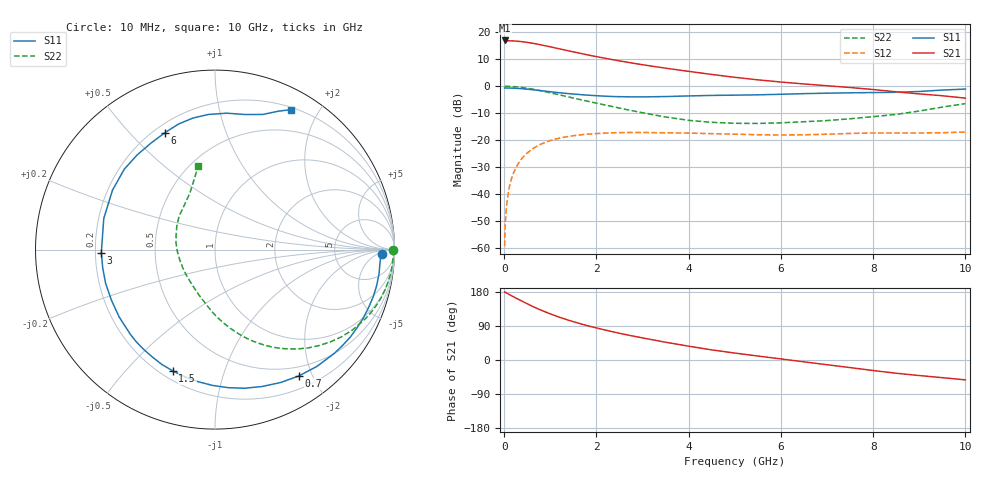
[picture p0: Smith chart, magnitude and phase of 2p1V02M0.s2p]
! (c) 2009  Infineon Technologies AG, Munich
! Infineon Technologies  Discrete & RF Semiconductors
! BFP420
! VCE =  1.0 V,  IC =  2.0 mA
! Common Emitter S-Parameters:  Nov 2009
# GHz  S  MA  R  50
!  f  S11  S21  S12  S22
! GHz  MAG  ANG  MAG  ANG  MAG  ANG  MAG  ANG
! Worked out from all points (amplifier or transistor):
!   46 points, 10 MHz to 10 GHz, reference 50 ohm
!   highest |S21| = 16.9 dB at 10 MHz (marker M1)
!   |S21| within 3 dB of that: start of sweep to 1.172 GHz
!   unconditionally stable (mu >= 1): 3.922 GHz to end of sweep
!   at 300 MHz: K = 0.04, MSG = 22.7 dB, |S12| = -28.8 dB
!   at 1.7 GHz: K = 0.38, MSG = 15.0 dB, |S12| = -17.9 dB
!   at 10 GHz: K = 1.21, MAG = 3.5 dB, |S12| = -17.0 dB
!   lowest NFmin = 0.53 dB at 900 MHz
!   S11 on the Smith chart (normalised r, x): 10 MHz: 24, -9; 700 MHz: 0.37, -1.81; 1.5 GHz: 0.25, -0.68; 3 GHz: 0.22, -0.01; 6 GHz: 0.24, +0.63; 10 GHz: 0.23, +1.65
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0.01  0.9288 -1.5  7.013 179.4  0.0011 94.5  0.9924 -0.1
0.02  0.9259 -1.8  6.837 179.1  0.0025 83.4  0.9936 -1.0
0.05  0.9224 -4.0  6.879 176.8  0.006 86.8  0.9933 -2.6
0.15  0.9229 -12.4  6.905 170.3  0.0184 82.8  0.987 -8.0
0.3  0.9098 -24.8  6.775 160.6  0.0364 75.5  0.965 -15.8
0.45  0.8892 -36.9  6.551 151.3  0.053 68.3  0.9308 -23.2
0.6  0.864 -48.8  6.26 142.4  0.068 61.5  0.8873 -30.3
0.7  0.845 -56.4  6.048 136.8  0.0769 57.2  0.8551 -34.7
1  0.79 -77.9  5.351 121.7  0.0987 45.8  0.7549 -46.5
1.2  0.7567 -91.1  4.906 112.8  0.1095 39.3  0.6905 -53.3
1.5  0.7153 -109.2  4.316 101.2  0.1215 30.9  0.6036 -62.2
1.7  0.6926 -120.3  3.975 94.1  0.1271 26.0  0.5529 -67.4
2.2  0.6527 -144.9  3.271 78.8  0.1359 15.8  0.4469 -79.0
2.6  0.6378 -162.9  2.841 67.9  0.1388 8.9  0.3778 -88.0
3  0.6337 -178.4  2.495 58.3  0.1392 3.5  0.3229 -96.6
3.5  0.6434 164.4  2.153 46.9  0.1376 -2.3  0.2692 -109.2
4.5  0.6755 138.4  1.65 26.7  0.1326 -10.4  0.2146 -137.8
5.5  0.6923 121.0  1.311 10.5  0.1266 -14.6  0.2046 -164.2
6  0.7088 113.2  1.194 2.9  0.1252 -15.4  0.2102 -177.5
7  0.743 99.6  1.019 -12.5  0.1294 -17.2  0.2313 159.5
8.5  0.7715 77.3  0.787 -34.9  0.1363 -24.7  0.301 124.5
10  0.8857 61.6  0.601 -52.4  0.1416 -28.7  0.4761 101.3
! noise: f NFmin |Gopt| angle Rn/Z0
0.9  0.53  0.47  33  0.22
1.8  1.03  0.29  77  0.17
2.4  1.13  0.31  102  0.16
3  1.32  0.31  136  0.12
4  1.57  0.37  -168  0.1
5  1.96  0.42  -129  0.28
6  2.72  0.51  -111  0.37
